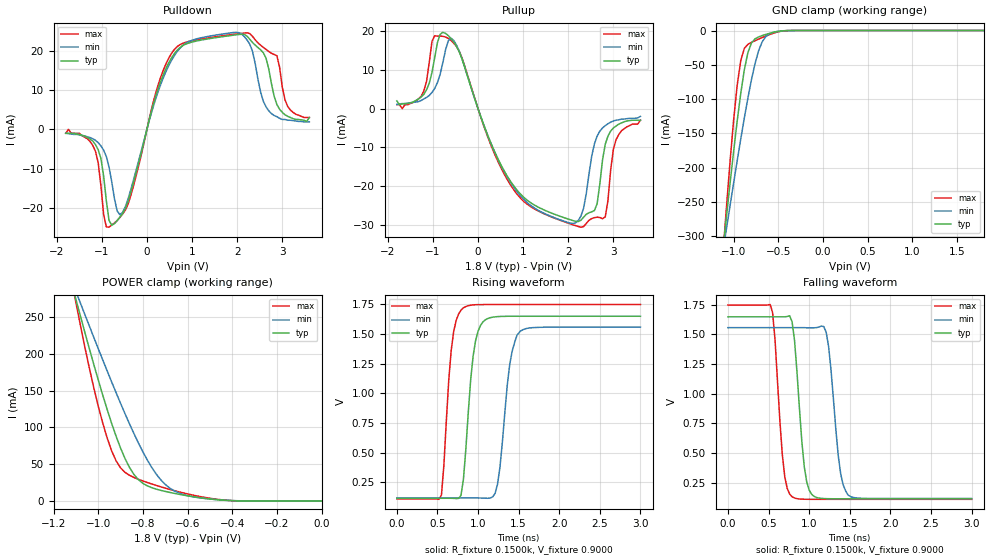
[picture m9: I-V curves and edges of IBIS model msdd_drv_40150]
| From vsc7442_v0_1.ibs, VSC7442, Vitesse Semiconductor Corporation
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|   Model msdd_drv_40150
[Model]  msdd_drv_40150
Model_type I/O
Polarity   Non-Inverting
Enable   Active-High
Vinl =   0.6500V
Vinh =   1.1500V
Vmeas =  0.9000V
Cref =   0.0F
Rref =   0.1500k
Vref =   0.9000V
C_comp   2.0000pF   1.8000pF   2.2000pF
[Temperature Range]   25.0000   0.1250k   -40.0000
[Pullup Reference]   1.8000V   1.7000V   1.9000V
[Pulldown Reference]   0.0V   0.0V   0.0V
[POWER Clamp Reference]   1.8000V   1.7000V   1.9000V
[GND Clamp Reference]   0.0V   0.0V   0.0V
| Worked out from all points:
|   slope of the pulldown table from 0 to 0.27 V, typ, clamps not added: 24.5 ohm
|   slope of the pullup table from 0 to 0.27 V, typ, clamps not added: 31.7 ohm
|   GND clamp passes 1 mA (typ) near -0.49 V on its own axis
|   POWER clamp passes 1 mA (typ) near -0.43 V on its own axis
|   rising waveform, R_fixture 0.1500k, V_fixture 0.9000: 20-80 % time 109ps typ, 123ps min, 97.9ps max; typ from 0.115 V to 1.65 V
|   falling waveform, R_fixture 0.1500k, V_fixture 0.9000: 20-80 % time 103ps typ, 114ps min, 94.7ps max; typ from 1.65 V to 0.115 V
[Pulldown]
|Voltage   I(typ)   I(min)   I(max)
-1.8V     -1mA       -1mA       -1mA
-1.08V    -5.2mA     -3.4mA     -8.5mA
-960mV    -11.8mA    -5.3mA     -21.59mA
-840mV    -23.12mA   -9.57mA    -24.86mA
-540mV    -21.39mA   -21.11mA   -21.55mA
300mV     12mA       11.24mA    13.06mA
720mV     20.66mA    20.44mA    21.42mA
2.28V     22.86mA    21.61mA    24.31mA
2.7V      15.34mA    4.7mA      19.78mA
2.94V     5.1mA      2.8mA      15.8mA
3.12V     3.3mA      2.3mA      5.8mA
3.6V      3mA        1.9mA      3mA
[Pullup]
|Voltage   I(typ)   I(min)   I(max)
-1.8V     2mA        1.1mA      1mA
-1.26V    3mA        2.1mA      3.2mA
-1.02V    9.4mA      4.2mA      17.4mA
-840mV    19.19mA    8.85mA     18.73mA
-660mV    18.87mA    17.52mA    18.14mA
840mV     -20.72mA   -21.09mA   -21.73mA
2.28V     -28.85mA   -27.79mA   -30.63mA
2.58V     -26.33mA   -9.1mA     -28.17mA
2.7V      -19.4mA    -5.8mA     -28.14mA
2.82V     -9.2mA     -4.4mA     -27.97mA
3.06V     -4.5mA     -3mA       -8mA
3.6V      -3mA       -2mA       -3mA
[GND_clamp]
|Voltage   I(typ)   I(min)   I(max)
-1.8V     -1.192A    -912.9mA   -1.596A
-1.12V    -321.2mA   -323mA     -327.7mA
-1.08V    -271.8mA   -289.3mA   -258.1mA
-1V       -176.7mA   -222.8mA   -131.1mA
-960mV    -132.3mA   -190.2mA   -80.01mA
-920mV    -91.81mA   -158.4mA   -43.87mA
-880mV    -57.37mA   -127.7mA   -26.1mA
-840mV    -32.21mA   -98.53mA   -20.15mA
-760mV    -12.16mA   -48.23mA   -14.88mA
-680mV    -7.376mA   -16.43mA   -10.25mA
-520mV    -1.664mA   -1.581mA   -2.591mA
1.8V      2.446nA    789.8nA    214.8pA
[POWER_clamp]
|Voltage   I(typ)   I(min)   I(max)
-1.8V     1.099A     849.3mA    1.455A
-1.1V     274.1mA    284.7mA    269.6mA
-1.08V    251.6mA    269mA      239mA
-1V       164.7mA    207.1mA    129.2mA
-940mV    105.7mA    161.9mA    68.37mA
-900mV    72.1mA     132.8mA    45.22mA
-860mV    45.8mA     104.9mA    35.06mA
-800mV    24.13mA    66.94mA    27.39mA
-720mV    14.64mA    28.98mA    19.45mA
-620mV    8.314mA    9.03mA     11.21mA
-400mV    592.3uA    795.4uA    672uA
0V        2.446nA    50.91nA    311.2pA
[Ramp]
| variable   typ   min   max
dV/dt_r  0.8880/0.1171n   0.8400/0.1264n   0.9456/0.1093n
dV/dt_f  0.9302/0.1248n   0.8695/0.1325n   0.9945/0.1211n
R_load = 0.1500k
[Rising Waveform]
R_fixture= 0.1500k
V_fixture= 0.9000
V_fixture_min= 0.8500
V_fixture_max= 0.9500
|time   V(typ)   V(min)   V(max)
0s        115.4mV    117.9mV    111mV
550ps     115.4mV    117.9mV    143.7mV
670ps     115.3mV    117.9mV    1.362V
820ps     273.1mV    117.9mV    1.719V
940ps     1.315V     118mV      1.744V
1.06ns    1.6V       116.8mV    1.746V
1.24ns    1.645V     233mV      1.747V
1.39ns    1.648V     1.241V     1.747V
1.52ns    1.648V     1.522V     1.747V
3ns       1.648V     1.557V     1.747V
[Falling Waveform]
R_fixture= 0.1500k
V_fixture= 0.9000
V_fixture_min= 0.8500
V_fixture_max= 0.9500
|time   V(typ)   V(min)   V(max)
0s        1.648V     1.557V     1.747V
520ps     1.648V     1.557V     1.752V
700ps     1.648V     1.557V     301mV
790ps     1.607V     1.557V     132.9mV
940ps     386.8mV    1.557V     111.8mV
1.03ns    154.2mV    1.556V     111.2mV
1.21ns    116.7mV    1.518V     111mV
1.36ns    115.6mV    470mV      111mV
1.48ns    115.4mV    146.7mV    111mV
3ns       115.4mV    117.9mV    111mV
